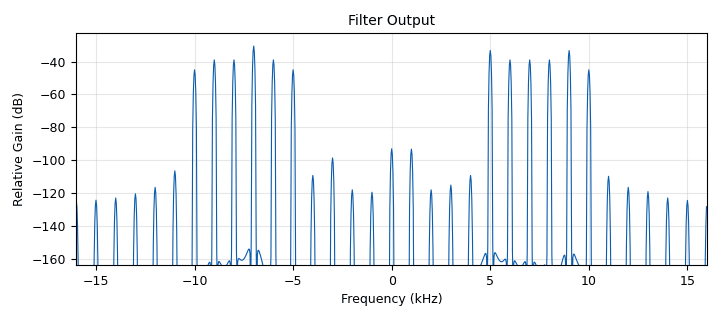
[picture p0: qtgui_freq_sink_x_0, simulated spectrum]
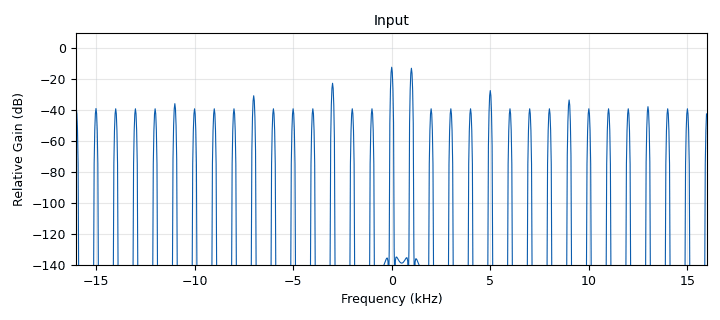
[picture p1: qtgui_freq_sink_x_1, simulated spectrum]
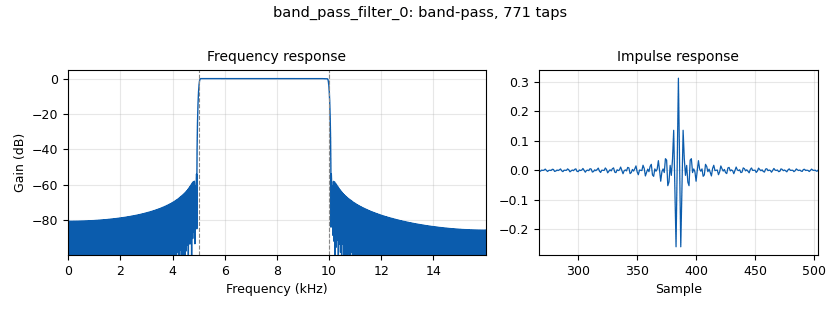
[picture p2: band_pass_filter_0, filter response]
options:
  parameters:
    generate_options: qt_gui
    id: complex_filter_high_pass
    output_language: python
    title: complex filter high pass
  states: {}

blocks:
- name: HIGH_CUTOFF
  id: variable
  parameters:
    value: 10*KHZ
  states: {}
- name: KHZ
  id: variable
  parameters:
    value: '1000'
  states: {}
- name: LOW_CUTOFF
  id: variable
  parameters:
    value: 5*KHZ
  states: {}
- name: samp_rate
  id: variable
  parameters:
    value: '32000'
  states: {}
- name: analog_sig_source_x_0
  id: analog_sig_source_x
  parameters:
    amp: '1'
    freq: '1000'
    offset: '0'
    phase: '0'
    samp_rate: samp_rate
    type: complex
    waveform: analog.GR_SQR_WAVE
  states: {}
- name: band_pass_filter_0
  id: band_pass_filter
  parameters:
    decim: '1'
    gain: '1'
    high_cutoff_freq: HIGH_CUTOFF
    low_cutoff_freq: LOW_CUTOFF
    samp_rate: samp_rate
    type: fir_filter_ccf
    width: '100'
    win: window.WIN_HAMMING
  states: {}
- name: blocks_throttle_0
  id: blocks_throttle
  parameters:
    samples_per_second: samp_rate
    type: complex
  states: {}
- name: qtgui_freq_sink_x_0
  id: qtgui_freq_sink_x
  parameters:
    autoscale: 'True'
    bw: samp_rate
    fc: '0'
    fftsize: '1024'
    grid: 'True'
    name: '"Filter Output"'
    type: complex
  states: {}
- name: qtgui_freq_sink_x_1
  id: qtgui_freq_sink_x
  parameters:
    bw: samp_rate
    fc: '0'
    fftsize: '1024'
    name: '"Input"'
    type: complex
  states: {}

connections:
- [analog_sig_source_x_0, '0', blocks_throttle_0, '0']
- [band_pass_filter_0, '0', qtgui_freq_sink_x_0, '0']
- [blocks_throttle_0, '0', band_pass_filter_0, '0']
- [blocks_throttle_0, '0', qtgui_freq_sink_x_1, '0']

metadata:
  file_format: 1
  grc_version: 3.10.5.1
